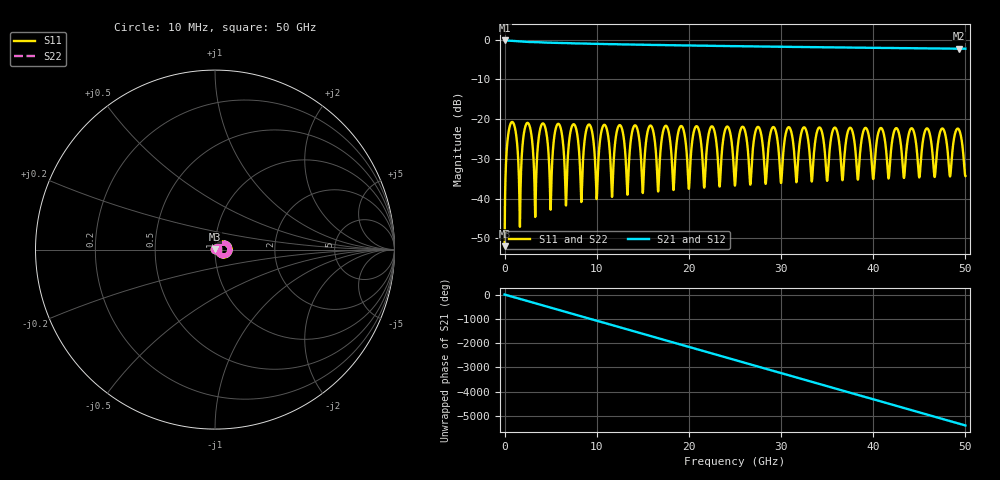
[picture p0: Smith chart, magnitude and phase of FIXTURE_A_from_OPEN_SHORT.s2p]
! Fixture A extrait de OPEN+SHORT (modele a une discontinuite, afr/reflect.py) - Fixture A synthetique : ligne Zc=55.0 ohm, delai=300 ps, pertes 1.0 dB @10 GHz (~sqrt(f)), eps_r_eff=3.0 -> 51.93 mm, Z0=50 ohm
! Frequency(Hz) S11 S21 S12 S22 (Re Im)
# Hz S RI R 50
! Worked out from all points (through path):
!   5000 points, 10 MHz to 50 GHz, reference 50 ohm
!   highest |S21| = -0.17 dB at 10 MHz (marker M1); lowest = -2.2 dB at 49.27 GHz (marker M2)
!   group delay of S21, straight-line fit = 300 ps
!   lowest |S11| = -52.0 dB at 10 MHz (marker M3), VSWR 1.01, Z = 50.2 + j0.174 ohm
!   |S11| at or under -10 dB: start of sweep to end of sweep
!   |S22| runs from -52.0 to -20.7 dB; largest |S21 - S12| = 0
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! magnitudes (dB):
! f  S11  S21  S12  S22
! 10 MHz  -52.0  -0.2  -0.2  -52.0
! 790 MHz  -20.7  -0.3  -0.3  -20.7
! 1.65 GHz  -45.7  -0.4  -0.4  -45.7
! 2.49 GHz  -20.9  -0.5  -0.5  -20.9
! 3.32 GHz  -44.1  -0.6  -0.6  -44.1
! 4.16 GHz  -21.1  -0.7  -0.7  -21.1
! 4.98 GHz  -42.0  -0.7  -0.7  -42.0
! 5.83 GHz  -21.2  -0.8  -0.8  -21.2
! 8.35 GHz  -40.5  -0.9  -0.9  -40.5
! 9.16 GHz  -21.3  -1.0  -1.0  -21.3
! 9.99 GHz  -40.0  -1.0  -1.0  -40.0
! 10.83 GHz  -21.4  -1.1  -1.1  -21.4
! 11.65 GHz  -39.3  -1.1  -1.1  -39.3
! 12.5 GHz  -21.5  -1.2  -1.2  -21.5
! 16.68 GHz  -38.1  -1.3  -1.3  -38.1
! 17.5 GHz  -21.7  -1.4  -1.4  -21.7
! 25.01 GHz  -36.7  -1.6  -1.6  -36.7
! 25.83 GHz  -21.9  -1.6  -1.6  -21.9
! 33.34 GHz  -35.7  -1.8  -1.8  -35.7
! 41.67 GHz  -35.0  -2.0  -2.0  -35.0
! 49.27 GHz  -22.5  -2.2  -2.2  -22.5
! 50 GHz  -34.3  -2.2  -2.2  -34.3
